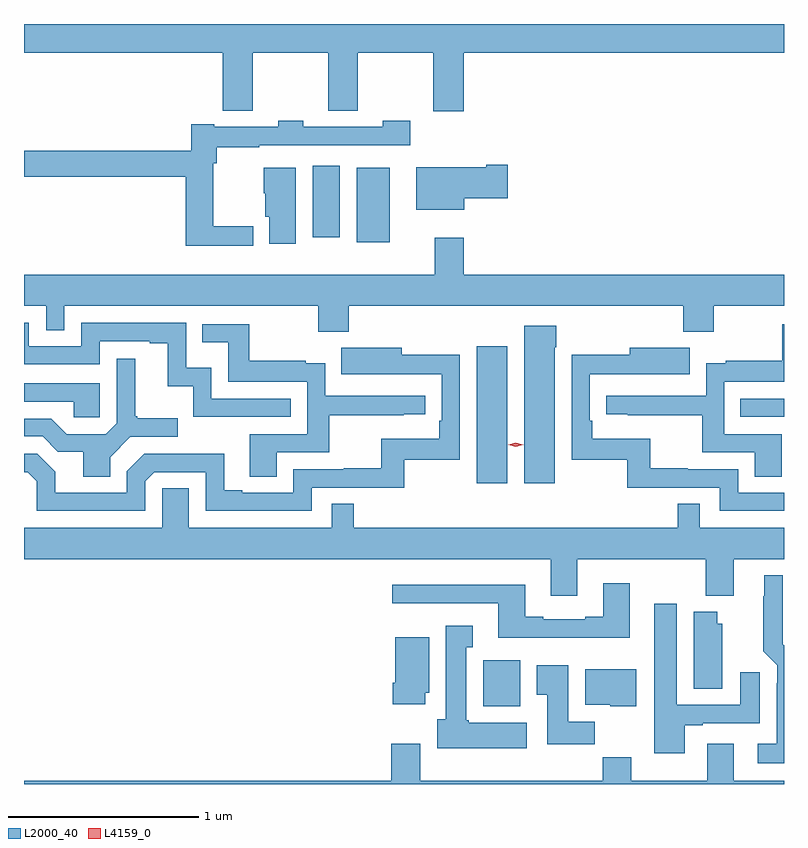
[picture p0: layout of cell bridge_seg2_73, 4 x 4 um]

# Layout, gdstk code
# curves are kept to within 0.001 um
import gdstk
lib = gdstk.Library(unit=1e-6, precision=1e-09)
def R(c, l, rs):  # rectangles x0, y0, x1, y1
    for r in rs: c.add(gdstk.rectangle(r[:2], r[2:], *l))
def P(c, l, *ps):  # polygons
    for p in ps: c.add(gdstk.Polygon(p, *l))
L2000_40 = (2000, 40)
L4159_0 = (4159, 0)

bridge_seg2_73 = lib.new_cell('bridge_seg2_73')
R(bridge_seg2_73, L2000_40, [(1014.068,601.574,1014.265,601.816), (1014.035,602.748,1014.196,603.469), (1015.423,603.096,1015.652,603.192), (1013.402,604.016,1013.578,604.408), (1013.171,604.041,1013.314,604.417)])
P(bridge_seg2_73, L2000_40, [(1013.966,605.012),(1015.652,605.012),(1015.652,605.164),(1011.652,605.164),(1011.652,605.012),(1012.697,605.012),(1012.697,604.708),(1012.856,604.708),(1012.856,605.012),(1013.254,605.012),(1013.254,604.708),(1013.408,604.708),(1013.408,605.012),(1013.806,605.012),(1013.806,604.704),(1013.966,604.704)],
  [(1012.858,604.1),(1012.648,604.1),(1012.648,604.43),(1012.667,604.43),(1012.667,604.515),(1012.889,604.515),(1012.889,604.527),(1013.686,604.527),(1013.686,604.656),(1013.541,604.656),(1013.541,604.623),(1013.121,604.623),(1013.121,604.656),(1012.989,604.656),(1012.989,604.623),(1012.654,604.623),(1012.654,604.636),(1012.531,604.636),(1012.531,604.496),(1011.652,604.496),(1011.652,604.36),(1012.502,604.36),(1012.502,603.998),(1012.858,603.998)],
  [(1013.968,604.246),(1014.199,604.246),(1014.199,604.424),(1014.086,604.424),(1014.086,604.411),(1013.717,604.411),(1013.717,604.187),(1013.968,604.187)],
  [(1013.083,604.408),(1012.913,604.408),(1012.913,604.272),(1012.922,604.272),(1012.922,604.149),(1012.943,604.149),(1012.943,604.008),(1013.083,604.008)],
  [(1013.36,603.68),(1015.121,603.68),(1015.121,603.545),(1015.281,603.545),(1015.281,603.68),(1015.652,603.68),(1015.652,603.844),(1013.966,603.844),(1013.966,604.039),(1013.813,604.039),(1013.813,603.844),(1011.652,603.844),(1011.652,603.68),(1011.768,603.68),(1011.768,603.553),(1011.864,603.553),(1011.864,603.68),(1013.2,603.68),(1013.2,603.545),(1013.36,603.545)],
  [(1013.057,603.192),(1012.638,603.192),(1012.638,603.355),(1012.506,603.355),(1012.506,603.591),(1011.954,603.591),(1011.954,603.468),(1011.678,603.468),(1011.678,603.591),(1011.652,603.591),(1011.652,603.372),(1012.05,603.372),(1012.05,603.495),(1012.313,603.495),(1012.313,603.483),(1012.409,603.483),(1012.409,603.257),(1012.542,603.257),(1012.542,603.096),(1013.057,603.096)],
  [(1012.981,602.91),(1013.258,602.91),(1013.258,603.106),(1013.651,603.106),(1013.651,603.111),(1013.764,603.111),(1013.764,603.207),(1013.238,603.207),(1013.238,603.379),(1013.135,603.379),(1013.135,603.391),(1012.837,603.391),(1012.837,603.585),(1012.591,603.585),(1012.591,603.488),(1012.726,603.488),(1012.726,603.282),(1013.142,603.282),(1013.142,603.006),(1012.841,603.006),(1012.841,602.782),(1012.981,602.782)],
  [(1015.639,603.006),(1015.338,603.006),(1015.338,603.282),(1015.652,603.282),(1015.652,603.585),(1015.644,603.585),(1015.644,603.391),(1015.345,603.391),(1015.345,603.379),(1015.242,603.379),(1015.242,603.207),(1014.717,603.207),(1014.717,603.111),(1014.829,603.111),(1014.829,603.106),(1015.222,603.106),(1015.222,602.91),(1015.499,602.91),(1015.499,602.782),(1015.639,602.782)],
  [(1014.445,603.464),(1014.453,603.464),(1014.453,603.577),(1014.284,603.577),(1014.284,602.748),(1014.445,602.748)],
  [(1015.652,602.697),(1015.41,602.697),(1015.41,602.82),(1015.145,602.82),(1015.145,602.825),(1014.949,602.825),(1014.949,602.98),(1014.644,602.98),(1014.644,603.076),(1014.63,603.076),(1014.63,603.321),(1014.943,603.321),(1014.943,603.32),(1015.157,603.32),(1015.157,603.46),(1014.839,603.46),(1014.839,603.422),(1014.534,603.422),(1014.534,602.871),(1014.828,602.871),(1014.828,602.724),(1015.314,602.724),(1015.314,602.601),(1015.652,602.601)],
  [(1012.29,602.757),(1012.338,602.805),(1012.608,602.805),(1012.608,602.601),(1013.166,602.601),(1013.166,602.724),(1013.653,602.724),(1013.653,602.871),(1013.946,602.871),(1013.946,603.422),(1013.641,603.422),(1013.641,603.46),(1013.323,603.46),(1013.323,603.32),(1013.85,603.321),(1013.85,603.076),(1013.837,603.076),(1013.837,602.98),(1013.532,602.98),(1013.532,602.825),(1013.335,602.825),(1013.335,602.82),(1013.07,602.82),(1013.07,602.697),(1012.801,602.697),(1012.801,602.71),(1012.705,602.71),(1012.705,602.903),(1012.5,602.903),(1012.5,602.901),(1012.284,602.901),(1012.194,602.811),(1012.194,602.697),(1011.817,602.697),(1011.817,602.807),(1011.723,602.901),(1011.652,602.901),(1011.652,602.805),(1011.672,602.805),(1011.72,602.757),(1011.72,602.601),(1012.29,602.601)],
  [(1012.105,602.884),(1012.212,602.991),(1012.462,602.991),(1012.462,603.088),(1012.249,603.088),(1012.249,603.1),(1012.237,603.1),(1012.237,603.403),(1012.14,603.403),(1012.14,603.063),(1012.083,603.006),(1011.877,603.006),(1011.796,603.087),(1011.652,603.087),(1011.652,602.994),(1011.75,602.994),(1011.83,602.914),(1011.965,602.914),(1011.965,602.782),(1012.105,602.782)],
  [(1012.05,603.273),(1011.652,603.273),(1011.652,603.177),(1011.913,603.177),(1011.913,603.093),(1012.05,603.093)],
  [(1014.565,602.348),(1015.24,602.348),(1015.24,602.156),(1015.387,602.156),(1015.387,602.348),(1015.652,602.348),(1015.652,602.512),(1015.209,602.512),(1015.209,602.639),(1015.093,602.639),(1015.093,602.512),(1013.387,602.512),(1013.387,602.639),(1013.271,602.639),(1013.271,602.512),(1012.519,602.512),(1012.519,602.72),(1012.38,602.72),(1012.38,602.512),(1011.652,602.512),(1011.652,602.348),(1014.425,602.348),(1014.425,602.154),(1014.565,602.154)],
  [(1015.652,601.893),(1015.645,601.9),(1015.645,602.263),(1015.547,602.263),(1015.547,602.153),(1015.543,602.153),(1015.543,601.862),(1015.617,601.788),(1015.617,601.694),(1015.613,601.694),(1015.613,601.375),(1015.515,601.375),(1015.515,601.274),(1015.652,601.274)],
  [(1014.841,602.221),(1014.701,602.221),(1014.701,602.044),(1014.605,602.044),(1014.605,602.031),(1014.385,602.031),(1014.385,602.044),(1014.289,602.044),(1014.289,602.212),(1013.589,602.212),(1013.589,602.115),(1014.149,602.115),(1014.149,601.934),(1014.841,601.934)],
  [(1015.129,601.473),(1015.225,601.473),(1015.225,601.485),(1015.525,601.485),(1015.525,601.753),(1015.421,601.753),(1015.421,601.581),(1015.087,601.581),(1015.087,602.113),(1014.968,602.113),(1014.968,601.326),(1015.129,601.326)],
  [(1015.327,602.007),(1015.3,602.007),(1015.3,602.071),(1015.178,602.071),(1015.178,601.666),(1015.327,601.666)],
  [(1014.298,601.486),(1013.994,601.486),(1013.994,601.5),(1013.98,601.5),(1013.98,601.883),(1014.013,601.883),(1014.013,601.996),(1013.873,601.996),(1013.873,601.506),(1013.828,601.506),(1013.828,601.352),(1014.298,601.352)],
  [(1013.764,601.644),(1013.785,601.644),(1013.785,601.936),(1013.606,601.936),(1013.606,601.696),(1013.594,601.696),(1013.594,601.584),(1013.764,601.584)],
  [(1014.656,601.492),(1014.517,601.492),(1014.517,601.789),(1014.35,601.789),(1014.35,601.633),(1014.407,601.633),(1014.407,601.374),(1014.656,601.374)],
  [(1014.874,601.768),(1014.605,601.768),(1014.605,601.58),(1014.738,601.58),(1014.738,601.574),(1014.874,601.574)],
  [(1015.652,601.18),(1015.387,601.18),(1015.387,601.375),(1015.247,601.375),(1015.247,601.18),(1014.849,601.18),(1014.849,601.304),(1014.697,601.304),(1014.697,601.18),(1013.737,601.18),(1013.737,601.375),(1013.585,601.375),(1013.585,601.18),(1011.652,601.18),(1011.652,601.164),(1015.652,601.164)])
P(bridge_seg2_73, L4159_0, [(1014.24,602.94),(1014.2,602.949),(1014.2,602.95),(1014.2,602.95),(1014.24,602.96),(1014.28,602.95),(1014.28,602.95),(1014.28,602.95)])

lib.write_gds('bridge_seg2_73.gds')
